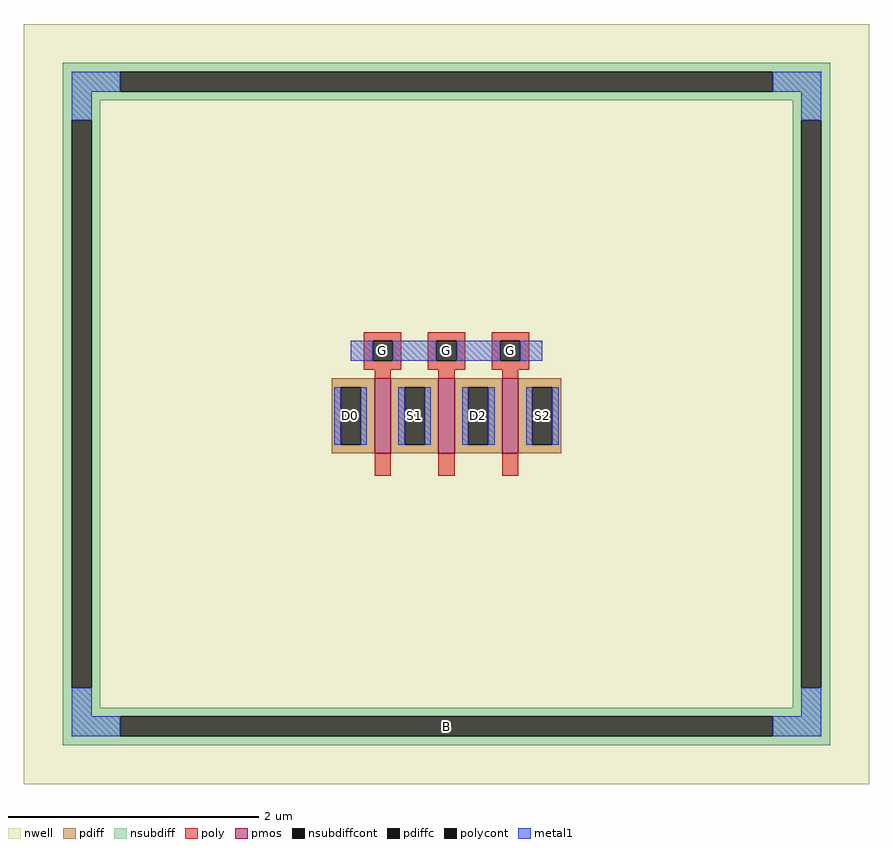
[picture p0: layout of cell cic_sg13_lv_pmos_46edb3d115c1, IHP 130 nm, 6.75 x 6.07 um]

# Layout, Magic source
magic
tech ihp-sg13cmos5l
magscale 1 2
<< nwell >>
rect -675 -607 675 607
<< pmos >>
rect -115 -79 -89 41
rect -13 -79 13 41
rect 89 -79 115 41
<< pdiff >>
rect -183 27 -115 41
rect -183 -65 -169 27
rect -137 -65 -115 27
rect -183 -79 -115 -65
rect -89 27 -13 41
rect -89 -65 -67 27
rect -35 -65 -13 27
rect -89 -79 -13 -65
rect 13 27 89 41
rect 13 -65 35 27
rect 67 -65 89 27
rect 13 -79 89 -65
rect 115 27 183 41
rect 115 -65 137 27
rect 169 -65 183 27
rect 115 -79 183 -65
<< pdiffc >>
rect -169 -65 -137 27
rect -67 -65 -35 27
rect 35 -65 67 27
rect 137 -65 169 27
<< nsubdiff >>
rect -613 531 613 545
rect -613 499 -521 531
rect 521 499 613 531
rect -613 485 613 499
rect -613 453 -553 485
rect -613 -453 -599 453
rect -567 -453 -553 453
rect 553 453 613 485
rect -613 -485 -553 -453
rect 553 -453 567 453
rect 599 -453 613 453
rect 553 -485 613 -453
rect -613 -499 613 -485
rect -613 -531 -521 -499
rect 521 -531 613 -499
rect -613 -545 613 -531
<< nsubdiffcont >>
rect -521 499 521 531
rect -599 -453 -567 453
rect 567 -453 599 453
rect -521 -531 521 -499
<< poly >>
rect -132 101 -72 115
rect -132 69 -118 101
rect -86 69 -72 101
rect -132 55 -72 69
rect -30 101 30 115
rect -30 69 -16 101
rect 16 69 30 101
rect -30 55 30 69
rect 72 101 132 115
rect 72 69 86 101
rect 118 69 132 101
rect 72 55 132 69
rect -115 41 -89 55
rect -13 41 13 55
rect 89 41 115 55
rect -115 -115 -89 -79
rect -13 -115 13 -79
rect 89 -115 115 -79
<< polycont >>
rect -118 69 -86 101
rect -16 69 16 101
rect 86 69 118 101
<< metal1 >>
rect -599 499 -521 531
rect 521 499 599 531
rect -599 453 -567 499
rect 567 453 599 499
rect -153 69 -118 101
rect -86 69 -16 101
rect 16 69 86 101
rect 118 69 153 101
rect -179 -65 -169 27
rect -137 -65 -127 27
rect -77 -65 -67 27
rect -35 -65 -25 27
rect 25 -65 35 27
rect 67 -65 77 27
rect 127 -65 137 27
rect 169 -65 179 27
rect -599 -499 -567 -453
rect 567 -499 599 -453
rect -599 -531 -521 -499
rect 521 -531 599 -499
<< labels >>
rlabel nsubdiffcont 0 -515 0 -515 0 B
port 1 nsew
rlabel pdiffc -153 -19 -153 -19 0 D0
port 2 nsew
rlabel polycont -102 85 -102 85 0 G
port 3 nsew
rlabel pdiffc -51 -19 -51 -19 0 S1
port 4 nsew
rlabel polycont 0 85 0 85 0 G
port 3 nsew
rlabel pdiffc 51 -19 51 -19 0 D2
port 5 nsew
rlabel pdiffc 153 -19 153 -19 0 S2
port 6 nsew
rlabel polycont 102 85 102 85 0 G
port 3 nsew
<< properties >>
string FIXED_BBOX -583 -515 583 515
string gencell sg13_lv_pmos
string library sg13cmos5l
string parameters w 0.6 l 0.13 m 1 ng 3 diffcov 100 polycov 100 guard 1 glc 1 grc 1 gtc 1 gbc 1 tbcov 100 rlcov 100 topc 1 botc 0 poverlap 0 doverlap 1 lmin 0.13 wmin 0.15 class mosfet compatible {sg13_lv_pmos sg13_hv_pmos} full_metal 1 conn_gates 1 gate_ring 0 ccols 1 viasrc 0 viadrn 0 viagate 0 viagb 0 viagr 0 viagl 0 viagt 0 doports 1 set_x_to_guard 2.0 set_y_to_guard 2.0
<< end >>
